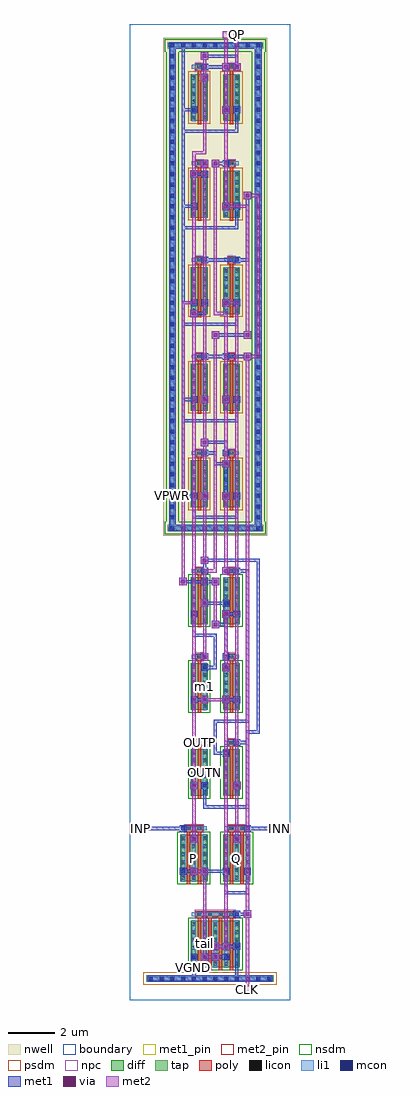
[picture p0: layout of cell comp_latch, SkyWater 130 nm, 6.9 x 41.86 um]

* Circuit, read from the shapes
.subckt comp_latch CLK INN INP OUTN OUTP P Q QN QP VGND VPWR m1 m2 tail
XM1 P INP tail VGND sky130_fd_pr__nfet_01v8 w=2 l=0.15 m=2
XM2 tail CLK VGND VGND sky130_fd_pr__nfet_01v8 w=2 l=0.15 m=4
XM3 OUTN OUTP P VGND sky130_fd_pr__nfet_01v8 w=2 l=0.15
XM4 m1 QN VGND VGND sky130_fd_pr__nfet_01v8 w=2 l=0.15
XM5 QP OUTN m1 VGND sky130_fd_pr__nfet_01v8 w=2 l=0.15
XM6 Q INN tail VGND sky130_fd_pr__nfet_01v8 w=2 l=0.15 m=2
XM7 Q OUTN OUTP VGND sky130_fd_pr__nfet_01v8 w=2 l=0.15
XM8 VGND QP m2 VGND sky130_fd_pr__nfet_01v8 w=2 l=0.15
XM9 m2 OUTP QN VGND sky130_fd_pr__nfet_01v8 w=2 l=0.15
XM10 OUTN OUTP VPWR VPWR sky130_fd_pr__pfet_01v8 w=2 l=0.15
XM11 OUTN CLK VPWR VPWR sky130_fd_pr__pfet_01v8 w=2 l=0.15
XM12 P CLK VPWR VPWR sky130_fd_pr__pfet_01v8 w=2 l=0.15
XM13 QP OUTN VPWR VPWR sky130_fd_pr__pfet_01v8 w=2 l=0.15
XM14 QP QN VPWR VPWR sky130_fd_pr__pfet_01v8 w=2 l=0.15
XM15 VPWR OUTN OUTP VPWR sky130_fd_pr__pfet_01v8 w=2 l=0.15
XM16 VPWR CLK OUTP VPWR sky130_fd_pr__pfet_01v8 w=2 l=0.15
XM17 VPWR CLK Q VPWR sky130_fd_pr__pfet_01v8 w=2 l=0.15
XM18 VPWR OUTP QN VPWR sky130_fd_pr__pfet_01v8 w=2 l=0.15
XM19 VPWR QP QN VPWR sky130_fd_pr__pfet_01v8 w=2 l=0.15
.ends

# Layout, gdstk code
import gdstk
lib = gdstk.Library(unit=1e-6, precision=1e-09)
def R(c, l, rs):  # rectangles x0, y0, x1, y1
    for r in rs: c.add(gdstk.rectangle(r[:2], r[2:], *l))
def A(c, l, x, y, w, h, nx, ny, dx, dy):  # array of equal rectangles
    R(c, l, [(x+i*dx, y+j*dy, x+i*dx+w, y+j*dy+h) for i in range(nx) for j in range(ny)])
nwell = (64, 20)
diff = (65, 20)
tap = (65, 44)
poly = (66, 20)
licon = (66, 44)
li1 = (67, 20)
mcon = (67, 44)
met1_pin = (68, 16)
met1 = (68, 20)
via = (68, 44)
met2_pin = (69, 16)
met2 = (69, 20)
nsdm = (93, 44)
psdm = (94, 20)
npc = (95, 20)
boundary = (235, 4)

comp_latch = lib.new_cell('comp_latch')
R(comp_latch, nwell, [(1.455,19.915,5.905,41.265)])
A(comp_latch, diff, 2.635, 8.765, 0.71, 2, 1, 3, 0, 3.68)
A(comp_latch, diff, 4.015, 8.765, 0.71, 2, 1, 3, 0, 3.68)
A(comp_latch, diff, 2.635, 21.14, 0.71, 2, 1, 5, 0, 4.14)
A(comp_latch, diff, 4.015, 21.14, 0.71, 2, 1, 5, 0, 4.14)
R(comp_latch, diff, [(2.635,1.405,4.725,3.405), (2.175,5.085,3.345,7.085), (4.015,5.085,5.185,7.085)])
R(comp_latch, tap, [(0.715,0.775,6.185,1.065), (1.635,20.095,5.725,20.385), (1.695,20.095,1.985,41.085), (5.375,20.095,5.665,41.085), (1.635,40.795,5.725,41.085)])
A(comp_latch, poly, 2.915, 1.275, 0.15, 2.405, 4, 1, 0.46, 0)
A(comp_latch, poly, 2.915, 4.955, 0.15, 2.405, 1, 4, 0, 3.68)
A(comp_latch, poly, 4.295, 4.955, 0.15, 2.405, 1, 4, 0, 3.68)
A(comp_latch, poly, 2.825, 10.905, 0.33, 0.27, 1, 3, 0, 3.68)
A(comp_latch, poly, 4.205, 10.905, 0.33, 0.27, 1, 3, 0, 3.68)
A(comp_latch, poly, 2.915, 21.01, 0.15, 2.45, 1, 5, 0, 4.14)
A(comp_latch, poly, 4.295, 21.01, 0.15, 2.45, 1, 5, 0, 4.14)
A(comp_latch, poly, 2.825, 23.325, 0.33, 0.27, 1, 5, 0, 4.14)
A(comp_latch, poly, 4.205, 23.325, 0.33, 0.27, 1, 5, 0, 4.14)
R(comp_latch, poly, [(2.825,3.545,4.535,3.815), (2.455,4.955,2.605,7.36), (4.755,4.955,4.905,7.36), (2.365,7.225,3.155,7.495), (4.205,7.225,4.995,7.495)])
A(comp_latch, licon, 0.835, 0.835, 0.17, 0.17, 12, 1, 0.46, 0)
A(comp_latch, licon, 2.675, 1.47, 0.17, 0.17, 5, 6, 0.46, 0.34)
A(comp_latch, licon, 2.905, 3.595, 0.17, 0.17, 4, 1, 0.46, 0)
A(comp_latch, licon, 2.215, 5.15, 0.17, 0.17, 3, 6, 0.46, 0.34)
A(comp_latch, licon, 4.055, 5.15, 0.17, 0.17, 3, 6, 0.46, 0.34)
A(comp_latch, licon, 2.905, 7.275, 0.17, 0.17, 1, 4, 0, 3.68)
A(comp_latch, licon, 4.285, 7.275, 0.17, 0.17, 1, 4, 0, 3.68)
A(comp_latch, licon, 2.675, 8.83, 0.17, 0.17, 1, 6, 0, 0.34)
A(comp_latch, licon, 3.135, 8.83, 0.17, 0.17, 1, 6, 0, 0.34)
A(comp_latch, licon, 4.055, 8.83, 0.17, 0.17, 1, 6, 0, 0.34)
A(comp_latch, licon, 4.515, 8.83, 0.17, 0.17, 1, 6, 0, 0.34)
A(comp_latch, licon, 2.675, 12.51, 0.17, 0.17, 1, 6, 0, 0.34)
A(comp_latch, licon, 3.135, 12.51, 0.17, 0.17, 1, 6, 0, 0.34)
A(comp_latch, licon, 4.055, 12.51, 0.17, 0.17, 1, 6, 0, 0.34)
A(comp_latch, licon, 4.515, 12.51, 0.17, 0.17, 1, 6, 0, 0.34)
A(comp_latch, licon, 2.675, 16.19, 0.17, 0.17, 1, 6, 0, 0.34)
A(comp_latch, licon, 3.135, 16.19, 0.17, 0.17, 1, 6, 0, 0.34)
A(comp_latch, licon, 4.055, 16.19, 0.17, 0.17, 1, 6, 0, 0.34)
A(comp_latch, licon, 4.515, 16.19, 0.17, 0.17, 1, 6, 0, 0.34)
A(comp_latch, licon, 1.755, 20.155, 0.17, 0.17, 9, 2, 0.46, 20.7)
A(comp_latch, licon, 1.755, 20.615, 0.17, 0.17, 1, 44, 0, 0.46)
A(comp_latch, licon, 5.435, 20.615, 0.17, 0.17, 1, 44, 0, 0.46)
A(comp_latch, licon, 2.675, 21.205, 0.17, 0.17, 1, 6, 0, 0.34)
A(comp_latch, licon, 3.135, 21.205, 0.17, 0.17, 1, 6, 0, 0.34)
A(comp_latch, licon, 4.055, 21.205, 0.17, 0.17, 1, 6, 0, 0.34)
A(comp_latch, licon, 4.515, 21.205, 0.17, 0.17, 1, 6, 0, 0.34)
A(comp_latch, licon, 2.905, 23.375, 0.17, 0.17, 1, 5, 0, 4.14)
A(comp_latch, licon, 4.285, 23.375, 0.17, 0.17, 1, 5, 0, 4.14)
A(comp_latch, licon, 2.675, 25.345, 0.17, 0.17, 1, 6, 0, 0.34)
A(comp_latch, licon, 3.135, 25.345, 0.17, 0.17, 1, 6, 0, 0.34)
A(comp_latch, licon, 4.055, 25.345, 0.17, 0.17, 1, 6, 0, 0.34)
A(comp_latch, licon, 4.515, 25.345, 0.17, 0.17, 1, 6, 0, 0.34)
A(comp_latch, licon, 2.675, 29.485, 0.17, 0.17, 1, 6, 0, 0.34)
A(comp_latch, licon, 3.135, 29.485, 0.17, 0.17, 1, 6, 0, 0.34)
A(comp_latch, licon, 4.055, 29.485, 0.17, 0.17, 1, 6, 0, 0.34)
A(comp_latch, licon, 4.515, 29.485, 0.17, 0.17, 1, 6, 0, 0.34)
A(comp_latch, licon, 2.675, 33.625, 0.17, 0.17, 1, 6, 0, 0.34)
A(comp_latch, licon, 3.135, 33.625, 0.17, 0.17, 1, 6, 0, 0.34)
A(comp_latch, licon, 4.055, 33.625, 0.17, 0.17, 1, 6, 0, 0.34)
A(comp_latch, licon, 4.515, 33.625, 0.17, 0.17, 1, 6, 0, 0.34)
A(comp_latch, licon, 2.675, 37.765, 0.17, 0.17, 1, 6, 0, 0.34)
A(comp_latch, licon, 3.135, 37.765, 0.17, 0.17, 1, 6, 0, 0.34)
A(comp_latch, licon, 4.055, 37.765, 0.17, 0.17, 1, 6, 0, 0.34)
A(comp_latch, licon, 4.515, 37.765, 0.17, 0.17, 1, 6, 0, 0.34)
R(comp_latch, licon, [(2.445,7.275,2.615,7.445), (4.745,7.275,4.915,7.445)])
A(comp_latch, li1, 2.675, 1.39, 0.17, 2.03, 5, 1, 0.46, 0)
A(comp_latch, li1, 2.215, 5.07, 0.17, 2.03, 3, 1, 0.46, 0)
A(comp_latch, li1, 4.055, 5.07, 0.17, 2.03, 3, 1, 0.46, 0)
A(comp_latch, li1, 2.675, 8.75, 0.17, 2.03, 1, 3, 0, 3.68)
A(comp_latch, li1, 3.135, 8.75, 0.17, 2.03, 1, 3, 0, 3.68)
A(comp_latch, li1, 4.055, 8.75, 0.17, 2.03, 1, 3, 0, 3.68)
A(comp_latch, li1, 4.515, 8.75, 0.17, 2.03, 1, 3, 0, 3.68)
A(comp_latch, li1, 2.675, 10.955, 0.63, 0.17, 1, 3, 0, 3.68)
A(comp_latch, li1, 4.055, 10.955, 0.63, 0.17, 1, 3, 0, 3.68)
A(comp_latch, li1, 2.675, 21.125, 0.17, 2.03, 1, 5, 0, 4.14)
A(comp_latch, li1, 3.135, 21.125, 0.17, 2.03, 1, 5, 0, 4.14)
A(comp_latch, li1, 4.055, 21.125, 0.17, 2.03, 1, 5, 0, 4.14)
A(comp_latch, li1, 4.515, 21.125, 0.17, 2.03, 1, 5, 0, 4.14)
A(comp_latch, li1, 2.675, 23.375, 0.63, 0.17, 1, 5, 0, 4.14)
A(comp_latch, li1, 4.055, 23.375, 0.63, 0.17, 1, 5, 0, 4.14)
R(comp_latch, li1, [(0.755,0.835,6.145,1.005), (2.675,3.595,4.685,3.765), (2.215,7.275,3.305,7.445), (4.055,7.275,5.145,7.445), (1.675,20.155,5.685,20.325), (1.755,20.155,1.925,41.025), (5.435,20.155,5.605,41.025), (1.675,40.855,5.685,41.025)])
A(comp_latch, mcon, 0.835, 0.835, 0.17, 0.17, 12, 1, 0.46, 0)
A(comp_latch, mcon, 2.215, 5.435, 0.17, 0.17, 4, 1, 0.92, 0)
A(comp_latch, mcon, 2.675, 9.115, 0.17, 0.17, 1, 3, 0, 3.68)
A(comp_latch, mcon, 4.515, 9.115, 0.17, 0.17, 1, 3, 0, 1.84)
A(comp_latch, mcon, 1.755, 20.155, 0.17, 0.17, 9, 2, 0.46, 20.7)
A(comp_latch, mcon, 1.755, 20.615, 0.17, 0.17, 1, 24, 0, 0.46)
A(comp_latch, mcon, 5.435, 20.615, 0.17, 0.17, 1, 44, 0, 0.46)
A(comp_latch, mcon, 2.675, 21.535, 0.17, 0.17, 1, 5, 0, 4.14)
A(comp_latch, mcon, 4.515, 21.535, 0.17, 0.17, 1, 5, 0, 4.14)
A(comp_latch, mcon, 1.755, 31.655, 0.17, 0.17, 3, 2, 1.38, 8.28)
A(comp_latch, mcon, 1.755, 32.115, 0.17, 0.17, 1, 17, 0, 0.46)
R(comp_latch, mcon, [(2.675,1.755,2.845,1.925), (3.135,1.755,3.305,1.925), (4.055,1.755,4.225,1.925), (3.595,2.215,3.765,2.385), (4.515,2.215,4.685,2.385), (4.515,3.595,4.685,3.765), (2.675,6.815,2.845,6.985), (4.515,6.815,4.685,6.985), (2.215,7.275,2.385,7.445), (4.975,7.275,5.145,7.445), (3.135,9.115,3.305,9.285), (4.055,10.495,4.225,10.665), (3.135,10.955,3.305,11.125), (3.135,14.175,3.305,14.345), (4.055,14.175,4.225,14.345), (3.135,14.635,3.305,14.805), (4.055,14.635,4.225,14.805), (4.515,16.475,4.685,16.645), (4.055,16.935,4.225,17.105), (3.135,17.855,3.305,18.025), (3.135,18.315,3.305,18.485), (4.515,18.315,4.685,18.485), (3.135,21.535,3.305,21.705), (4.055,21.535,4.225,21.705), (3.135,23.375,3.305,23.545), (4.055,23.375,4.225,23.545), (3.135,25.675,3.305,25.845), (4.055,25.675,4.225,25.845), (3.135,27.515,3.305,27.685), (4.055,27.515,4.225,27.685), (3.135,29.815,3.305,29.985), (4.055,29.815,4.225,29.985), (4.055,33.955,4.225,34.125), (3.135,35.335,3.305,35.505), (3.135,35.795,3.305,35.965), (4.055,35.795,4.225,35.965), (4.055,38.095,4.225,38.265), (3.135,39.475,3.305,39.645), (1.755,40.395,1.925,40.565)])
R(comp_latch, met1_pin, [(2.69,0.85,2.83,1.91), (1.77,21.55,1.91,21.69)])
A(comp_latch, met1, 4.53, 3.61, 0.6, 0.14, 1, 3, 0, 7.36)
A(comp_latch, met1, 2.155, 5.375, 0.29, 0.29, 4, 1, 0.92, 0)
A(comp_latch, met1, 2.615, 9.055, 0.29, 0.29, 1, 3, 0, 3.68)
A(comp_latch, met1, 4.455, 9.055, 0.29, 0.29, 1, 3, 0, 1.84)
A(comp_latch, met1, 4.53, 20.63, 0.14, 1.06, 1, 5, 0, 4.14)
A(comp_latch, met1, 2.615, 21.475, 0.29, 0.29, 1, 5, 0, 4.14)
A(comp_latch, met1, 4.455, 21.475, 0.29, 0.29, 1, 3, 0, 4.14)
A(comp_latch, met1, 2.23, 21.55, 0.14, 4.28, 1, 4, 0, 4.14)
A(comp_latch, met1, 2.23, 24.77, 2.44, 0.14, 1, 4, 0, 4.14)
A(comp_latch, met1, 3.98, 25.6, 0.32, 0.32, 1, 4, 0, 4.14)
A(comp_latch, met1, 2.23, 25.69, 0.6, 0.14, 1, 4, 0, 4.14)
R(comp_latch, met1, [(0.775,0.775,6.125,1.065), (2.69,0.85,2.83,1.91), (2.69,0.85,4.67,0.99), (4.53,0.85,4.67,0.99), (4.53,0.85,4.67,2.37), (3.06,1.68,3.38,2), (3.52,1.68,3.84,2), (2.615,1.695,2.905,1.985), (3.075,1.695,3.365,1.985), (3.995,1.695,4.285,1.985), (3.61,1.77,4.21,1.91), (3.52,2.14,3.84,2.46), (3.98,2.14,4.3,2.46), (3.535,2.155,3.825,2.445), (4.455,2.155,4.745,2.445), (4.07,2.23,4.67,2.37), (4.9,3.52,5.22,3.84), (4.455,3.535,4.745,3.825), (4.07,4.53,4.21,5.59), (4.07,4.53,5.13,4.67), (4.99,4.53,5.13,5.59), (2.6,5.36,2.92,5.68), (3.06,5.36,3.38,5.68), (2.23,5.45,2.83,5.59), (3.15,5.45,4.21,5.59), (2.6,6.74,2.92,7.06), (4.44,6.74,4.76,7.06), (2.615,6.755,2.905,7.045), (4.455,6.755,4.745,7.045), (0.3,7.2,0.62,7.52), (6.28,7.2,6.6,7.52), (2.155,7.215,2.445,7.505), (4.915,7.215,5.205,7.505), (0.39,7.29,2.37,7.43), (4.99,7.29,6.51,7.43), (3.15,8.21,3.29,9.27), (3.15,8.21,5.13,8.35), (4.99,8.21,5.13,11.11), (2.6,9.04,2.92,9.36), (4.44,9.04,4.76,9.36), (3.075,9.055,3.365,9.345), (3.995,10.435,4.285,10.725), (3.61,10.51,4.21,10.65), (3.61,10.51,3.75,11.11), (3.075,10.895,3.365,11.185), (3.15,10.97,3.75,11.11), (3.61,10.97,3.75,12.03), (4.99,10.97,5.13,11.57), (4.99,11.43,5.59,11.57), (5.45,11.43,5.59,18.93), (3.61,11.89,5.13,12.03), (4.99,11.89,5.13,18.47), (3.06,12.72,3.38,13.04), (3.98,12.72,4.3,13.04), (2.69,12.81,3.29,12.95), (4.07,12.81,4.67,12.95), (3.98,14.1,4.3,14.42), (3.075,14.115,3.365,14.405), (3.995,14.115,4.285,14.405), (3.15,14.19,3.75,14.33), (3.61,14.19,3.75,15.71), (3.06,14.56,3.38,14.88), (3.075,14.575,3.365,14.865), (3.995,14.575,4.285,14.865), (4.07,14.65,4.21,16.17), (2.69,15.57,2.83,16.63), (2.69,15.57,3.75,15.71), (3.52,15.94,3.84,16.26), (3.61,16.03,4.21,16.17), (3.98,16.4,4.3,16.72), (4.455,16.415,4.745,16.705), (4.07,16.49,4.67,16.63), (3.06,16.86,3.38,17.18), (3.995,16.875,4.285,17.165), (3.15,16.95,4.21,17.09), (2.14,17.78,2.46,18.1), (3.52,17.78,3.84,18.1), (3.075,17.795,3.365,18.085), (2.23,17.87,3.29,18.01), (3.15,17.87,3.75,18.01), (3.98,18.24,4.3,18.56), (3.075,18.255,3.365,18.545), (4.455,18.255,4.745,18.545), (3.15,18.33,3.29,18.93), (4.07,18.33,4.67,18.47), (3.06,18.7,3.38,19.02), (3.15,18.79,5.59,18.93), (1.695,20.095,1.985,41.085), (1.695,20.095,5.665,20.385), (5.375,20.095,5.665,41.085), (2.69,20.63,2.83,21.69), (2.69,20.63,4.67,20.77), (3.06,21.46,3.38,21.78), (3.98,21.46,4.3,21.78), (3.075,21.475,3.365,21.765), (3.995,21.475,4.285,21.765), (1.77,21.55,1.91,21.69), (1.77,21.55,2.83,21.69), (4.07,21.55,4.21,23.07), (3.98,22.84,4.3,23.16), (3.61,22.93,4.21,23.07), (3.61,22.93,3.75,23.53), (3.075,23.315,3.365,23.605), (3.995,23.315,4.285,23.605), (3.15,23.39,3.75,23.53), (4.07,23.39,4.21,23.99), (3.06,23.76,3.38,24.08), (3.15,23.85,4.21,23.99), (3.06,25.6,3.38,25.92), (3.075,25.615,3.365,25.905), (3.995,25.615,4.285,25.905), (4.9,27.44,5.22,27.76), (3.075,27.455,3.365,27.745), (3.995,27.455,4.285,27.745), (3.15,27.53,4.21,27.67), (4.07,27.53,5.13,27.67), (3.52,28.36,3.84,28.68), (4.9,28.36,5.22,28.68), (3.61,28.45,5.13,28.59), (2.6,29.28,2.92,29.6), (2.69,29.37,3.29,29.51), (3.15,29.37,3.29,29.97), (3.075,29.755,3.365,30.045), (3.995,29.755,4.285,30.045), (3.075,31.595,3.365,31.885), (4.455,31.595,4.745,31.885), (3.15,31.67,4.67,31.81), (4.53,31.67,5.13,31.81), (4.99,31.67,5.13,34.57), (3.995,33.895,4.285,34.185), (4.455,33.895,4.745,34.185), (4.9,34.34,5.22,34.66), (2.6,35.26,2.92,35.58), (3.075,35.275,3.365,35.565), (2.69,35.35,3.29,35.49), (3.06,35.72,3.38,36.04), (3.52,35.72,3.84,36.04), (3.075,35.735,3.365,36.025), (3.995,35.735,4.285,36.025), (3.61,35.81,4.21,35.95), (3.995,38.035,4.285,38.325), (4.455,38.035,4.745,38.325), (2.23,38.11,2.37,41.01), (3.06,39.4,3.38,39.72), (3.075,39.415,3.365,39.705), (3.98,39.86,4.3,40.18), (4.44,39.86,4.76,40.18), (3.075,39.875,3.365,40.165), (4.455,39.875,4.745,40.165), (3.15,39.95,4.21,40.09), (4.53,39.95,4.67,40.55), (3.06,40.32,3.38,40.64), (3.15,40.41,4.67,40.55), (1.695,40.795,5.665,41.085), (2.23,40.87,2.37,41.01)])
A(comp_latch, via, 4.065, 25.685, 0.15, 0.15, 1, 4, 0, 4.14)
R(comp_latch, via, [(3.145,1.765,3.295,1.915), (3.605,1.765,3.755,1.915), (3.605,2.225,3.755,2.375), (4.065,2.225,4.215,2.375), (4.985,3.605,5.135,3.755), (2.685,5.445,2.835,5.595), (3.145,5.445,3.295,5.595), (2.685,6.825,2.835,6.975), (4.525,6.825,4.675,6.975), (0.385,7.285,0.535,7.435), (6.365,7.285,6.515,7.435), (2.685,9.125,2.835,9.275), (4.525,9.125,4.675,9.275), (3.145,12.805,3.295,12.955), (4.065,12.805,4.215,12.955), (4.065,14.185,4.215,14.335), (3.145,14.645,3.295,14.795), (3.605,16.025,3.755,16.175), (4.065,16.485,4.215,16.635), (3.145,16.945,3.295,17.095), (2.225,17.865,2.375,18.015), (3.605,17.865,3.755,18.015), (4.065,18.325,4.215,18.475), (3.145,18.785,3.295,18.935), (3.145,21.545,3.295,21.695), (4.065,21.545,4.215,21.695), (4.065,22.925,4.215,23.075), (3.145,23.845,3.295,23.995), (3.145,25.685,3.295,25.835), (4.985,27.525,5.135,27.675), (3.605,28.445,3.755,28.595), (4.985,28.445,5.135,28.595), (2.685,29.365,2.835,29.515), (4.985,34.425,5.135,34.575), (2.685,35.345,2.835,35.495), (3.145,35.805,3.295,35.955), (3.605,35.805,3.755,35.955), (3.145,39.485,3.295,39.635), (4.065,39.945,4.215,40.095), (4.525,39.945,4.675,40.095), (3.145,40.405,3.295,40.555)])
R(comp_latch, met2_pin, [(4.91,0.31,5.21,0.61), (0.31,7.21,0.61,7.51), (6.29,7.21,6.59,7.51), (3.99,41.25,4.29,41.55), (4.45,41.25,4.75,41.55)])
A(comp_latch, met2, 3.98, 25.6, 0.32, 0.32, 1, 4, 0, 4.14)
R(comp_latch, met2, [(4.91,0.31,5.21,0.61), (4.99,0.39,5.13,3.75), (4.99,0.39,5.13,0.53), (3.06,1.68,3.38,2), (3.52,1.68,3.84,2), (3.15,1.77,3.75,1.91), (3.15,1.77,3.29,5.59), (3.52,2.14,3.84,2.46), (3.98,2.14,4.3,2.46), (3.61,2.23,4.21,2.37), (4.07,2.23,4.21,12.95), (4.9,3.52,5.22,3.84), (4.99,3.61,5.13,27.67), (2.6,5.36,2.92,5.68), (3.06,5.36,3.38,5.68), (2.69,5.45,3.29,5.59), (2.6,6.74,2.92,7.06), (4.44,6.74,4.76,7.06), (2.69,6.83,2.83,9.27), (4.53,6.83,4.67,9.27), (0.3,7.2,0.62,7.52), (6.28,7.2,6.6,7.52), (0.31,7.21,0.61,7.51), (6.29,7.21,6.59,7.51), (0.39,7.29,0.53,7.43), (6.37,7.29,6.51,7.43), (2.6,9.04,2.92,9.36), (4.44,9.04,4.76,9.36), (2.69,9.13,2.83,29.51), (4.53,9.13,4.67,29.97), (3.06,12.72,3.38,13.04), (3.98,12.72,4.3,13.04), (3.15,12.81,4.21,12.95), (3.98,14.1,4.3,14.42), (4.07,14.19,4.21,16.63), (3.06,14.56,3.38,14.88), (3.15,14.65,3.29,17.09), (3.52,15.94,3.84,16.26), (3.61,16.03,3.75,18.01), (3.98,16.4,4.3,16.72), (3.06,16.86,3.38,17.18), (3.15,16.95,3.29,18.47), (2.14,17.78,2.46,18.1), (3.52,17.78,3.84,18.1), (2.23,17.87,2.37,29.97), (3.98,18.24,4.3,18.56), (3.15,18.33,3.75,18.47), (3.61,18.33,3.75,28.59), (4.07,18.33,4.21,21.69), (3.06,18.7,3.38,19.02), (3.15,18.79,3.29,21.69), (3.06,21.46,3.38,21.78), (3.98,21.46,4.3,21.78), (3.15,21.55,3.29,23.99), (3.98,22.84,4.3,23.16), (4.07,22.93,4.21,25.83), (3.06,23.76,3.38,24.08), (3.15,23.85,3.29,25.83), (3.06,25.6,3.38,25.92), (3.15,25.69,3.29,35.95), (4.07,25.69,4.21,29.51), (4.9,27.44,5.22,27.76), (4.99,27.53,5.59,27.67), (5.45,27.53,5.59,34.57), (3.52,28.36,3.84,28.68), (4.9,28.36,5.22,28.68), (4.99,28.45,5.13,34.11), (2.6,29.28,2.92,29.6), (3.61,29.37,4.21,29.51), (3.61,29.37,3.75,35.95), (2.23,29.83,2.83,29.97), (2.69,29.83,2.83,35.49), (4.07,29.83,4.67,29.97), (4.07,33.97,5.13,34.11), (4.07,33.97,4.21,38.25), (4.9,34.34,5.22,34.66), (4.99,34.43,5.59,34.57), (2.6,35.26,2.92,35.58), (2.69,35.35,2.83,36.41), (3.06,35.72,3.38,36.04), (3.52,35.72,3.84,36.04), (2.69,36.27,3.29,36.41), (3.15,36.27,3.29,39.63), (4.07,38.11,4.21,41.47), (3.06,39.4,3.38,39.72), (3.15,39.49,3.29,40.55), (3.98,39.86,4.3,40.18), (4.44,39.86,4.76,40.18), (4.53,39.95,4.67,41.47), (3.06,40.32,3.38,40.64), (3.99,41.25,4.29,41.55), (4.45,41.25,4.75,41.55), (4.07,41.33,4.21,41.47), (4.53,41.33,4.67,41.47)])
A(comp_latch, nsdm, 2.51, 8.64, 0.96, 2.25, 1, 3, 0, 3.68)
A(comp_latch, nsdm, 3.89, 8.64, 0.96, 2.25, 1, 3, 0, 3.68)
R(comp_latch, nsdm, [(2.51,1.28,4.85,3.53), (2.05,4.96,3.47,7.21), (3.89,4.96,5.31,7.21), (1.51,19.97,5.85,20.51), (1.57,20.51,2.11,40.67), (5.25,20.51,5.79,40.67), (1.51,40.67,5.85,41.21)])
A(comp_latch, psdm, 2.51, 21.015, 0.96, 2.25, 1, 5, 0, 4.14)
A(comp_latch, psdm, 3.89, 21.015, 0.96, 2.25, 1, 5, 0, 4.14)
R(comp_latch, psdm, [(0.59,0.65,6.31,1.19)])
A(comp_latch, npc, 2.805, 10.855, 0.37, 0.37, 1, 3, 0, 3.68)
A(comp_latch, npc, 4.185, 10.855, 0.37, 0.37, 1, 3, 0, 3.68)
A(comp_latch, npc, 2.805, 23.275, 0.37, 0.37, 1, 5, 0, 4.14)
A(comp_latch, npc, 4.185, 23.275, 0.37, 0.37, 1, 5, 0, 4.14)
R(comp_latch, npc, [(2.805,3.495,4.555,3.865), (2.345,7.175,3.175,7.545), (4.185,7.175,5.015,7.545)])
R(comp_latch, boundary, [(0,0,6.9,41.86)])
comp_latch.add(gdstk.Label('tail', (3.22,2.405), layer=67, texttype=5))
comp_latch.add(gdstk.Label('P', (2.76,6.085), layer=67, texttype=5))
comp_latch.add(gdstk.Label('Q', (4.6,6.085), layer=67, texttype=5))
comp_latch.add(gdstk.Label('OUTP', (2.99,11.04), layer=67, texttype=5))
comp_latch.add(gdstk.Label('OUTN', (3.22,9.765), layer=67, texttype=5))
comp_latch.add(gdstk.Label('m1', (3.22,13.445), layer=67, texttype=5))
comp_latch.add(gdstk.Label('m2', (4.14,13.445), layer=67, texttype=5))
comp_latch.add(gdstk.Label('VPWR', (1.84,21.62), layer=68, texttype=5))
comp_latch.add(gdstk.Label('VGND', (2.76,1.38), layer=68, texttype=5))
comp_latch.add(gdstk.Label('CLK', (5.06,0.46), layer=69, texttype=5))
comp_latch.add(gdstk.Label('INP', (0.46,7.36), layer=69, texttype=5))
comp_latch.add(gdstk.Label('INN', (6.44,7.36), layer=69, texttype=5))
comp_latch.add(gdstk.Label('QP', (4.6,41.4), layer=69, texttype=5))
comp_latch.add(gdstk.Label('QN', (4.14,41.4), layer=69, texttype=5))
comp_latch.add(gdstk.Label('VPWR', (1.84,21.62), layer=68, texttype=16))
comp_latch.add(gdstk.Label('VGND', (2.76,1.38), layer=68, texttype=16))
comp_latch.add(gdstk.Label('CLK', (5.06,0.46), layer=69, texttype=16))
comp_latch.add(gdstk.Label('INP', (0.46,7.36), layer=69, texttype=16))
comp_latch.add(gdstk.Label('INN', (6.44,7.36), layer=69, texttype=16))
comp_latch.add(gdstk.Label('QP', (4.6,41.4), layer=69, texttype=16))
comp_latch.add(gdstk.Label('QN', (4.14,41.4), layer=69, texttype=16))

lib.write_gds('comp_latch.gds')
